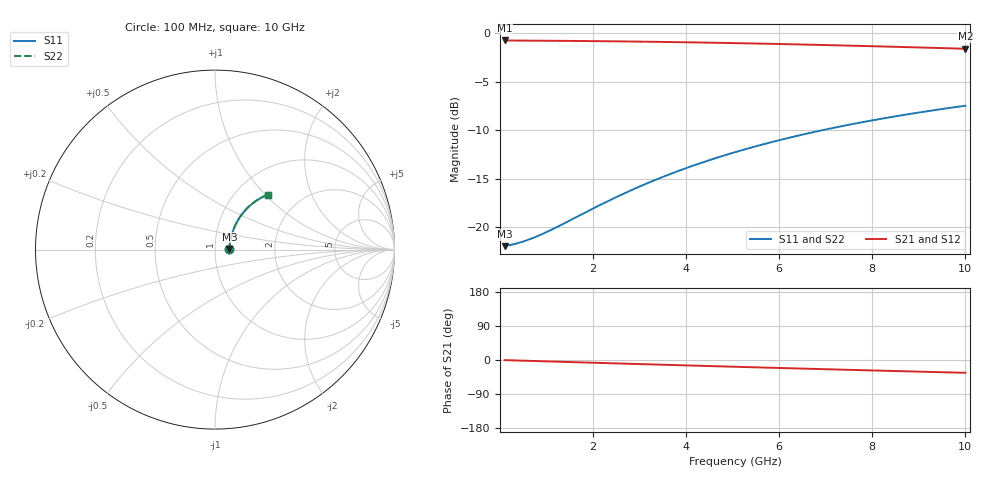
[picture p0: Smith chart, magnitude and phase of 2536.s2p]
# Hz S RI R 50.00
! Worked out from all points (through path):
!   100 points, 100 MHz to 10 GHz, reference 50 ohm
!   highest |S21| = -0.72 dB at 100 MHz (marker M1); lowest = -1.6 dB at 10 GHz (marker M2)
!   group delay of S21, straight-line fit = 9.4 ps
!   lowest |S11| = -21.9 dB at 100 MHz (marker M3), VSWR 1.17, Z = 58.7 + j0.5 ohm
!   |S11| at or under -10 dB: start of sweep to 6.905 GHz
!   |S22| runs from -21.9 to -7.5 dB; largest |S21 - S12| = 0
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1e8  0.08 0.00424  0.92 -0.00579  0.92 -0.00579  0.08 0.00424
4e8  0.0815 0.0169  0.9185 -0.0231  0.9185 -0.0231  0.0815 0.0169
6e8  0.0825 0.0253  0.9175 -0.0346  0.9175 -0.0346  0.0825 0.0253
8e8  0.0836 0.0336  0.9163 -0.0461  0.9163 -0.0461  0.0836 0.0336
1e9  0.0848 0.042  0.915 -0.0575  0.915 -0.0575  0.0848 0.042
1.2e9  0.0862 0.0503  0.9136 -0.0689  0.9136 -0.0689  0.0862 0.0503
1.8e9  0.0916 0.0748  0.908 -0.1028  0.908 -0.1028  0.0916 0.0748
2.2e9  0.0961 0.0909  0.9033 -0.1251  0.9033 -0.1251  0.0961 0.0909
2.6e9  0.1013 0.1066  0.8978 -0.1471  0.8978 -0.1471  0.1013 0.1066
3e9  0.1072 0.122  0.8916 -0.1687  0.8916 -0.1687  0.1072 0.122
3.4e9  0.1139 0.1371  0.8846 -0.19  0.8846 -0.19  0.1139 0.1371
3.8e9  0.1212 0.1517  0.8769 -0.2109  0.8769 -0.2109  0.1212 0.1517
4.2e9  0.1292 0.1658  0.8685 -0.2313  0.8685 -0.2313  0.1292 0.1658
4.6e9  0.1378 0.1795  0.8595 -0.2512  0.8595 -0.2512  0.1378 0.1795
5.1e9  0.1493 0.1958  0.8474 -0.2754  0.8474 -0.2754  0.1493 0.1958
5.5e9  0.1591 0.2082  0.837 -0.2941  0.837 -0.2941  0.1591 0.2082
5.9e9  0.1694 0.2201  0.8261 -0.3122  0.8261 -0.3122  0.1694 0.2201
6.7e9  0.1913 0.242  0.8029 -0.3467  0.8029 -0.3467  0.1913 0.242
7.5e9  0.2147 0.2614  0.778 -0.3788  0.778 -0.3788  0.2147 0.2614
8.4e9  0.2424 0.2802  0.7485 -0.4119  0.7485 -0.4119  0.2424 0.2802
9.2e9  0.2679 0.2941  0.7212 -0.4387  0.7212 -0.4387  0.2679 0.2941
1e10  0.2938 0.3056  0.6932 -0.463  0.6932 -0.463  0.2938 0.3056
